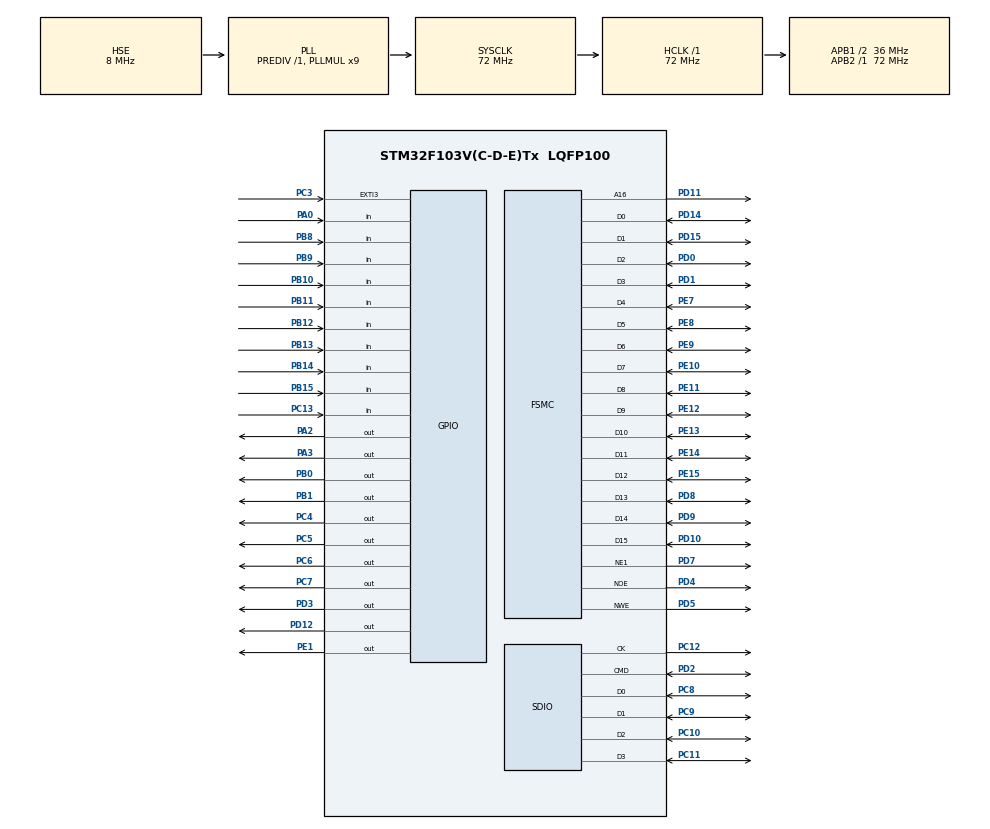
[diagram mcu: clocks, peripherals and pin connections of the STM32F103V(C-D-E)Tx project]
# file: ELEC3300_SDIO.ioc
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FATFS._MAX_SS=4096
Mcu.Family=STM32F1
Mcu.Name=STM32F103V(C-D-E)Tx
Mcu.Package=LQFP100
NVIC.EXTI3_IRQn=true\:0\:0\:false\:false\:true\:true\:true
NVIC.PriorityGroup=NVIC_PRIORITYGROUP_4
OSC_IN.Mode=HSE-External-Oscillator
OSC_IN.Signal=RCC_OSC_IN
OSC_OUT.Mode=HSE-External-Oscillator
OSC_OUT.Signal=RCC_OSC_OUT
PA0-WKUP.Signal=GPIO_Input
PA13.Mode=Serial_Wire
PA13.Signal=SYS_JTMS-SWDIO
PA14.Mode=Serial_Wire
PA14.Signal=SYS_JTCK-SWCLK
PA2.GPIO_Speed=GPIO_SPEED_FREQ_HIGH
PA2.Signal=GPIO_Output
PA3.GPIO_Speed=GPIO_SPEED_FREQ_HIGH
PA3.Signal=GPIO_Output
PB0.Signal=GPIO_Output
PB1.Signal=GPIO_Output
PB10.Signal=GPIO_Input
PB11.Signal=GPIO_Input
PB12.Signal=GPIO_Input
PB13.Signal=GPIO_Input
PB14.Signal=GPIO_Input
PB15.Signal=GPIO_Input
PB8.Signal=GPIO_Input
PB9.Signal=GPIO_Input
PC10.Mode=SD_4_bits_Wide_bus
PC10.Signal=SDIO_D2
PC11.Mode=SD_4_bits_Wide_bus
PC11.Signal=SDIO_D3
PC12.Mode=SD_4_bits_Wide_bus
PC12.Signal=SDIO_CK
PC13-TAMPER-RTC.Signal=GPIO_Input
PC14-OSC32_IN.Mode=LSE-External-Oscillator
PC14-OSC32_IN.Signal=RCC_OSC32_IN
PC15-OSC32_OUT.Mode=LSE-External-Oscillator
PC15-OSC32_OUT.Signal=RCC_OSC32_OUT
PC3.GPIO_ModeDefaultEXTI=GPIO_MODE_IT_FALLING
PC3.Signal=GPXTI3
PC4.GPIO_Speed=GPIO_SPEED_FREQ_HIGH
PC4.Signal=GPIO_Output
PC5.GPIO_Speed=GPIO_SPEED_FREQ_HIGH
PC5.Signal=GPIO_Output
PC6.GPIO_ModeDefaultOutputPP=GPIO_MODE_OUTPUT_OD
PC6.GPIO_PuPd=GPIO_NOPULL
PC6.GPIO_Speed=GPIO_SPEED_FREQ_HIGH
PC6.Signal=GPIO_Output
PC7.GPIO_ModeDefaultOutputPP=GPIO_MODE_OUTPUT_OD
PC7.GPIO_Speed=GPIO_SPEED_FREQ_HIGH
PC7.Signal=GPIO_Output
PC8.Mode=SD_4_bits_Wide_bus
PC8.Signal=SDIO_D0
PC9.Mode=SD_4_bits_Wide_bus
PC9.Signal=SDIO_D1
PD0.Mode=16b-d1
PD0.Signal=FSMC_D2
PD1.Mode=16b-d1
PD1.Signal=FSMC_D3
PD10.Mode=16b-d1
PD10.Signal=FSMC_D15
PD11.Mode=A16_1
PD11.Signal=FSMC_A16
PD12.GPIO_Speed=GPIO_SPEED_FREQ_HIGH
PD12.PinState=GPIO_PIN_RESET
PD12.Signal=GPIO_Output
PD14.Mode=16b-d1
PD14.Signal=FSMC_D0
PD15.Mode=16b-d1
PD15.Signal=FSMC_D1
PD2.Mode=SD_4_bits_Wide_bus
PD2.Signal=SDIO_CMD
PD3.GPIO_Speed=GPIO_SPEED_FREQ_HIGH
PD3.Signal=GPIO_Output
PD4.Mode=Lcd1
PD4.Signal=FSMC_NOE
PD5.Mode=Lcd1
PD5.Signal=FSMC_NWE
PD7.Mode=NorPsramChipSelect1_1
PD7.Signal=FSMC_NE1
PD8.Mode=16b-d1
PD8.Signal=FSMC_D13
PD9.Mode=16b-d1
PD9.Signal=FSMC_D14
PE1.GPIO_Speed=GPIO_SPEED_FREQ_HIGH
PE1.PinState=GPIO_PIN_RESET
PE1.Signal=GPIO_Output
PE10.Mode=16b-d1
PE10.Signal=FSMC_D7
PE11.Mode=16b-d1
PE11.Signal=FSMC_D8
PE12.Mode=16b-d1
PE12.Signal=FSMC_D9
PE13.Mode=16b-d1
PE13.Signal=FSMC_D10
PE14.Mode=16b-d1
PE14.Signal=FSMC_D11
PE15.Mode=16b-d1
PE15.Signal=FSMC_D12
PE7.Mode=16b-d1
PE7.Signal=FSMC_D4
PE8.Mode=16b-d1
PE8.Signal=FSMC_D5
PE9.Mode=16b-d1
PE9.Signal=FSMC_D6
ProjectManager.HeapSize=0x200
ProjectManager.StackSize=0x400
ProjectManager.TargetToolchain=MDK-ARM V5.32
RCC.AHBFreq_Value=72000000
RCC.APB1CLKDivider=RCC_HCLK_DIV2
RCC.APB1Freq_Value=36000000
RCC.APB1TimFreq_Value=72000000
RCC.APB2Freq_Value=72000000
RCC.APB2TimFreq_Value=72000000
RCC.HCLKFreq_Value=72000000
RCC.PLLMUL=RCC_PLL_MUL9
RCC.PLLSourceVirtual=RCC_PLLSOURCE_HSE
RCC.SYSCLKFreq_VALUE=72000000
RCC.SYSCLKSource=RCC_SYSCLKSOURCE_PLLCLK
RCC.USBFreq_Value=72000000
SDIO.ClockDiv=4
VP_FATFS_VS_SDIO.Mode=SDIO
board=custom

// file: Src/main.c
/* USER CODE BEGIN Header */
/**
  ******************************************************************************
  * @file           : main.c
  * @brief          : Main program body
  ******************************************************************************
  * @attention
  *
  * <h2><center>&copy; Copyright (c) 2022 STMicroelectronics.
  * All rights reserved.</center></h2>
  *
  * This software component is licensed by ST under Ultimate Liberty license
  * SLA0044, the "License"; You may not use this file except in compliance with
  * the License. You may obtain a copy of the License at:
  *                             www.st.com/SLA0044
  *
  ******************************************************************************
  */
/* USER CODE END Header */

#include "main.h"
#include "fatfs.h"

/* USER CODE BEGIN Includes */
#include "lcd.h"
#include "bsp_ov7725.h"
#include "bsp_sccb.h"
#include "bmp.h"
/* USER CODE END Includes */

SD_HandleTypeDef hsd;

SRAM_HandleTypeDef hsram1;

void SystemClock_Config(void);
static void MX_GPIO_Init(void);
static void MX_FSMC_Init(void);
static void MX_SDIO_SD_Init(void);
/* USER CODE BEGIN PFP */
int newbmp(const char*);
FATFS myFATFS;
FIL myFILE;
UINT numberofbytes;
BITMAPINFO bmp;
volatile uint8_t Ov7725_vsync ;
/* USER CODE END PFP */

/* USER CODE BEGIN 0 */
int newbmp(const char* myPath){
	if (f_mount(&myFATFS,SDPath,1) == FR_OK){ // if sd card is successfully detected.
		if (f_open(&myFILE, myPath, FA_WRITE |FA_CREATE_ALWAYS) == FR_OK ){
			bmp.bmfHeader.bfType =  0x4D42 ; 			//bmp type "BM"
			bmp.bmfHeader.bOffBits = sizeof(bmp.bmfHeader) + sizeof(bmp.bmiHeader) + sizeof(bmp.RGB_MASK); ; 				//The number of bytes occupied by the bitmap information structure
			bmp.bmfHeader.bfSize = bmp.bmfHeader.bOffBits + 320 * 240 * 2; 	//File size (information structure + pixel data)
			bmp.bmfHeader.bfReserved1 =  0x0000 ; 		//Reserved, must be 0
			bmp.bmfHeader.bfReserved2 =  0x0000;

			bmp.bmiHeader.biSize = sizeof(bmp.bmiHeader) ;   			//bitmap information header size of width
			bmp.bmiHeader.biWidth = 320. ;   		//bitmap
			bmp.bmiHeader.biHeight = 240 ;   		//image height
			bmp.bmiHeader.biPlanes = 1 ;   			//set another target level must be 1
			bmp.bmiHeader.biBitCount = 16 ;         //bits per pixel
			bmp.bmiHeader.biCompression = 3;   	//RGB565 format
			bmp.bmiHeader.biSizeImage = 320 * 240 * 2 ; //The number of bytes occupied by the actual bitmap (only the bitmap pixel data is considered)
			bmp.bmiHeader.biXPelsPerMeter = 0 ; 	//horizontal resolution
			bmp.bmiHeader.biYPelsPerMeter = 0 ;  	//vertical resolution
			bmp.bmiHeader.biClrImportant = 0 ;    	//color index number of the image display described have an important influence, 0 represents all colors as important
			bmp.bmiHeader.biClrUsed = 0 ;

			bmp.RGB_MASK[0] = 0X00F800;
			bmp.RGB_MASK[1] = 0X0007E0;
			bmp.RGB_MASK[2] = 0X00001F;

			if (f_write(&myFILE, &bmp , sizeof(bmp), &numberofbytes) == FR_OK){
				FIFO_PREPARE; //ready for FIFO
				uint16_t i, j;
				uint16_t Camera_Data;

				//LCD_Cam_Gram(); //function in lcd.c
				for (i = 0; i < 240; i++)
				{
					for (j = 0; j < 320; j++)
					{
						READ_FIFO_PIXEL(Camera_Data);
						f_write(&myFILE, &Camera_Data, sizeof(Camera_Data), &numberofbytes); // write the raw imagedata.
						//LCD_Write_Data(Camera_Data);
					}
				}
				f_close(&myFILE);
				Ov7725_vsync = 0;
				return 0;
			}else{
				return 1;
			}
		}else{
			return 1;
		}
	}else{
		return 1;
	}
}

int readbmp(const char* myPath){
	if (f_mount(&myFATFS,SDPath,1) == FR_OK){ // if sd card is successfully detected.
		if (f_open(&myFILE, myPath, FA_READ) == FR_OK ){
			bmp.bmfHeader.bfType =  0x4D42 ; 			//bmp type "BM"
			bmp.bmfHeader.bOffBits = sizeof(bmp.bmfHeader) + sizeof(bmp.bmiHeader) + sizeof(bmp.RGB_MASK); ; 				//The number of bytes occupied by the bitmap information structure
			bmp.bmfHeader.bfSize = bmp.bmfHeader.bOffBits + 320 * 240 * 2; 	//File size (information structure + pixel data)
			bmp.bmfHeader.bfReserved1 =  0x0000 ; 		//Reserved, must be 0
			bmp.bmfHeader.bfReserved2 =  0x0000;

			bmp.bmiHeader.biSize = sizeof(bmp.bmiHeader) ;   			//bitmap information header size of width
			bmp.bmiHeader.biWidth = 320. ;   		//bitmap
			bmp.bmiHeader.biHeight = 240 ;   		//image height
			bmp.bmiHeader.biPlanes = 1 ;   			//set another target level must be 1
			bmp.bmiHeader.biBitCount = 16 ;         //bits per pixel
			bmp.bmiHeader.biCompression = 3;   	//RGB565 format
			bmp.bmiHeader.biSizeImage = 320 * 240 * 2 ; //The number of bytes occupied by the actual bitmap (only the bitmap pixel data is considered)
			bmp.bmiHeader.biXPelsPerMeter = 0 ; 	//horizontal resolution
			bmp.bmiHeader.biYPelsPerMeter = 0 ;  	//vertical resolution
			bmp.bmiHeader.biClrImportant = 0 ;    	//color index number of the image display described have an important influence, 0 represents all colors as important
			bmp.bmiHeader.biClrUsed = 0 ;

			bmp.RGB_MASK[0] = 0X00F800;
			bmp.RGB_MASK[1] = 0X0007E0;
			bmp.RGB_MASK[2] = 0X00001F;
			if (f_read(&myFILE, &bmp , sizeof(bmp), &numberofbytes) == FR_OK){
				uint16_t i, j;
				uint16_t Camera_Data;
				LCD_Cam_Gram(); //function in lcd.c
				for (i = 0; i < 240; i++)
				{
					for (j = 0; j < 320; j++)
					{
						f_read(&myFILE, &Camera_Data, sizeof(Camera_Data), &numberofbytes); // write the raw imagedata.
						LCD_Write_Data(Camera_Data);
					}
				}
				f_close(&myFILE);
				return 0;
			}else{
				return 1;
			}
		}else{
			return 1;
		}
	}else{
		return 1;
	}
}

/* USER CODE END 0 */

int main(void)
{

  /* MCU Configuration--------------------------------------------------------*/

  /* Reset of all peripherals, Initializes the Flash interface and the Systick. */
  HAL_Init();

  /* Configure the system clock */
  SystemClock_Config();

  /* Initialize all configured peripherals */
  MX_GPIO_Init();
  MX_FSMC_Init();
  MX_SDIO_SD_Init();
  MX_FATFS_Init();
  /* USER CODE BEGIN 2 */
	LCD_INIT();

  /* USER CODE END 2 */

  /* Infinite loop */
  /* USER CODE BEGIN WHILE */

	while(Ov7725_Init() != SUCCESS); //initialize camera ov7725; if any error, loop forever
	Ov7725_vsync = 0;   //for detecting if camera finish capturing; if yes, it becomes 2 as detecting two failing edge in VSYNC

	HAL_GPIO_WritePin(GPIOB, GPIO_PIN_1,GPIO_PIN_SET); // lights off
	HAL_GPIO_WritePin(GPIOB, GPIO_PIN_0,GPIO_PIN_SET);
	HAL_GPIO_WritePin(GPIOB, GPIO_PIN_5,GPIO_PIN_SET);

  while (1)
  {
		if (Ov7725_vsync == 2 && HAL_GPIO_ReadPin(GPIOA, GPIO_PIN_0) == SET){ 		//finish capturing & k1 press
			const char* myPath = "test1.bmp"; // the filename of the image data.
			if(newbmp(myPath) == 0){
				HAL_GPIO_WritePin(GPIOB, GPIO_PIN_0,GPIO_PIN_RESET); // green light.
			}
		}

		if (HAL_GPIO_ReadPin(GPIOC, GPIO_PIN_13) == SET){
			const char* myPath = "test2.bmp";
			if (readbmp(myPath) == 0){
				HAL_GPIO_WritePin(GPIOB, GPIO_PIN_0,GPIO_PIN_SET); // green off.
				HAL_GPIO_WritePin(GPIOB, GPIO_PIN_1,GPIO_PIN_RESET); // red light.
			}
		}
    /* USER CODE END WHILE */

  }
}

void SystemClock_Config(void)
{
  RCC_OscInitTypeDef RCC_OscInitStruct = {0};
  RCC_ClkInitTypeDef RCC_ClkInitStruct = {0};

  /** Initializes the CPU, AHB and APB busses clocks
  */
  RCC_OscInitStruct.OscillatorType = RCC_OSCILLATORTYPE_HSE;
  RCC_OscInitStruct.HSEState = RCC_HSE_ON;
  RCC_OscInitStruct.HSEPredivValue = RCC_HSE_PREDIV_DIV1;
  RCC_OscInitStruct.HSIState = RCC_HSI_ON;
  RCC_OscInitStruct.PLL.PLLState = RCC_PLL_ON;
  RCC_OscInitStruct.PLL.PLLSource = RCC_PLLSOURCE_HSE;
  RCC_OscInitStruct.PLL.PLLMUL = RCC_PLL_MUL9;
  if (HAL_RCC_OscConfig(&RCC_OscInitStruct) != HAL_OK)
  {
    Error_Handler();
  }
  /** Initializes the CPU, AHB and APB busses clocks
  */
  RCC_ClkInitStruct.ClockType = RCC_CLOCKTYPE_HCLK|RCC_CLOCKTYPE_SYSCLK
                              |RCC_CLOCKTYPE_PCLK1|RCC_CLOCKTYPE_PCLK2;
  RCC_ClkInitStruct.SYSCLKSource = RCC_SYSCLKSOURCE_PLLCLK;
  RCC_ClkInitStruct.AHBCLKDivider = RCC_SYSCLK_DIV1;
  RCC_ClkInitStruct.APB1CLKDivider = RCC_HCLK_DIV2;
  RCC_ClkInitStruct.APB2CLKDivider = RCC_HCLK_DIV1;

  if (HAL_RCC_ClockConfig(&RCC_ClkInitStruct, FLASH_LATENCY_2) != HAL_OK)
  {
    Error_Handler();
  }
}

static void MX_SDIO_SD_Init(void)
{

  hsd.Instance = SDIO;
  hsd.Init.ClockEdge = SDIO_CLOCK_EDGE_RISING;
  hsd.Init.ClockBypass = SDIO_CLOCK_BYPASS_DISABLE;
  hsd.Init.ClockPowerSave = SDIO_CLOCK_POWER_SAVE_DISABLE;
  hsd.Init.BusWide = SDIO_BUS_WIDE_1B;
  hsd.Init.HardwareFlowControl = SDIO_HARDWARE_FLOW_CONTROL_DISABLE;
  hsd.Init.ClockDiv = 4;

}

static void MX_GPIO_Init(void)
{
  GPIO_InitTypeDef GPIO_InitStruct = {0};

  /* GPIO Ports Clock Enable */
  __HAL_RCC_GPIOC_CLK_ENABLE();
  __HAL_RCC_GPIOA_CLK_ENABLE();
  __HAL_RCC_GPIOB_CLK_ENABLE();
  __HAL_RCC_GPIOE_CLK_ENABLE();
  __HAL_RCC_GPIOD_CLK_ENABLE();

  /*Configure GPIO pin Output Level */
  HAL_GPIO_WritePin(GPIOA, GPIO_PIN_2|GPIO_PIN_3, GPIO_PIN_RESET);

  /*Configure GPIO pin Output Level */
  HAL_GPIO_WritePin(GPIOC, GPIO_PIN_4|GPIO_PIN_5|GPIO_PIN_6|GPIO_PIN_7, GPIO_PIN_RESET);

  /*Configure GPIO pin Output Level */
  HAL_GPIO_WritePin(GPIOB, GPIO_PIN_0|GPIO_PIN_1, GPIO_PIN_RESET);

  /*Configure GPIO pin Output Level */
  HAL_GPIO_WritePin(GPIOD, GPIO_PIN_12|GPIO_PIN_3, GPIO_PIN_RESET);

  /*Configure GPIO pin Output Level */
  HAL_GPIO_WritePin(GPIOE, GPIO_PIN_1, GPIO_PIN_RESET);

  /*Configure GPIO pin : PC13 */
  GPIO_InitStruct.Pin = GPIO_PIN_13;
  GPIO_InitStruct.Mode = GPIO_MODE_INPUT;
  GPIO_InitStruct.Pull = GPIO_NOPULL;
  HAL_GPIO_Init(GPIOC, &GPIO_InitStruct);

  /*Configure GPIO pin : PC3 */
  GPIO_InitStruct.Pin = GPIO_PIN_3;
  GPIO_InitStruct.Mode = GPIO_MODE_IT_FALLING;
  GPIO_InitStruct.Pull = GPIO_NOPULL;
  HAL_GPIO_Init(GPIOC, &GPIO_InitStruct);

  /*Configure GPIO pin : PA0 */
  GPIO_InitStruct.Pin = GPIO_PIN_0;
  GPIO_InitStruct.Mode = GPIO_MODE_INPUT;
  GPIO_InitStruct.Pull = GPIO_NOPULL;
  HAL_GPIO_Init(GPIOA, &GPIO_InitStruct);

  /*Configure GPIO pins : PA2 PA3 */
  GPIO_InitStruct.Pin = GPIO_PIN_2|GPIO_PIN_3;
  GPIO_InitStruct.Mode = GPIO_MODE_OUTPUT_PP;
  GPIO_InitStruct.Pull = GPIO_NOPULL;
  GPIO_InitStruct.Speed = GPIO_SPEED_FREQ_HIGH;
  HAL_GPIO_Init(GPIOA, &GPIO_InitStruct);

  /*Configure GPIO pins : PC4 PC5 */
  GPIO_InitStruct.Pin = GPIO_PIN_4|GPIO_PIN_5;
  GPIO_InitStruct.Mode = GPIO_MODE_OUTPUT_PP;
  GPIO_InitStruct.Pull = GPIO_NOPULL;
  GPIO_InitStruct.Speed = GPIO_SPEED_FREQ_HIGH;
  HAL_GPIO_Init(GPIOC, &GPIO_InitStruct);

  /*Configure GPIO pins : PB0 PB1 */
  GPIO_InitStruct.Pin = GPIO_PIN_0|GPIO_PIN_1;
  GPIO_InitStruct.Mode = GPIO_MODE_OUTPUT_PP;
  GPIO_InitStruct.Pull = GPIO_NOPULL;
  GPIO_InitStruct.Speed = GPIO_SPEED_FREQ_LOW;
  HAL_GPIO_Init(GPIOB, &GPIO_InitStruct);

  /*Configure GPIO pins : PB10 PB11 PB12 PB13
                           PB14 PB15 PB8 PB9 */
  GPIO_InitStruct.Pin = GPIO_PIN_10|GPIO_PIN_11|GPIO_PIN_12|GPIO_PIN_13
                          |GPIO_PIN_14|GPIO_PIN_15|GPIO_PIN_8|GPIO_PIN_9;
  GPIO_InitStruct.Mode = GPIO_MODE_INPUT;
  GPIO_InitStruct.Pull = GPIO_NOPULL;
  HAL_GPIO_Init(GPIOB, &GPIO_InitStruct);

  /*Configure GPIO pins : PD12 PD3 */
  GPIO_InitStruct.Pin = GPIO_PIN_12|GPIO_PIN_3;
  GPIO_InitStruct.Mode = GPIO_MODE_OUTPUT_PP;
  GPIO_InitStruct.Pull = GPIO_NOPULL;
  GPIO_InitStruct.Speed = GPIO_SPEED_FREQ_HIGH;
  HAL_GPIO_Init(GPIOD, &GPIO_InitStruct);

  /*Configure GPIO pins : PC6 PC7 */
  GPIO_InitStruct.Pin = GPIO_PIN_6|GPIO_PIN_7;
  GPIO_InitStruct.Mode = GPIO_MODE_OUTPUT_OD;
  GPIO_InitStruct.Pull = GPIO_NOPULL;
  GPIO_InitStruct.Speed = GPIO_SPEED_FREQ_HIGH;
  HAL_GPIO_Init(GPIOC, &GPIO_InitStruct);

  /*Configure GPIO pin : PE1 */
  GPIO_InitStruct.Pin = GPIO_PIN_1;
  GPIO_InitStruct.Mode = GPIO_MODE_OUTPUT_PP;
  GPIO_InitStruct.Pull = GPIO_NOPULL;
  GPIO_InitStruct.Speed = GPIO_SPEED_FREQ_HIGH;
  HAL_GPIO_Init(GPIOE, &GPIO_InitStruct);

  /* EXTI interrupt init*/
  HAL_NVIC_SetPriority(EXTI3_IRQn, 0, 0);
  HAL_NVIC_EnableIRQ(EXTI3_IRQn);

}

/* FSMC initialization function */
static void MX_FSMC_Init(void)
{

  FSMC_NORSRAM_TimingTypeDef Timing = {0};

  /** Perform the SRAM1 memory initialization sequence
  */
  hsram1.Instance = FSMC_NORSRAM_DEVICE;
  hsram1.Extended = FSMC_NORSRAM_EXTENDED_DEVICE;
  /* hsram1.Init */
  hsram1.Init.NSBank = FSMC_NORSRAM_BANK1;
  hsram1.Init.DataAddressMux = FSMC_DATA_ADDRESS_MUX_DISABLE;
  hsram1.Init.MemoryType = FSMC_MEMORY_TYPE_SRAM;
  hsram1.Init.MemoryDataWidth = FSMC_NORSRAM_MEM_BUS_WIDTH_16;
  hsram1.Init.BurstAccessMode = FSMC_BURST_ACCESS_MODE_DISABLE;
  hsram1.Init.WaitSignalPolarity = FSMC_WAIT_SIGNAL_POLARITY_LOW;
  hsram1.Init.WrapMode = FSMC_WRAP_MODE_DISABLE;
  hsram1.Init.WaitSignalActive = FSMC_WAIT_TIMING_BEFORE_WS;
  hsram1.Init.WriteOperation = FSMC_WRITE_OPERATION_ENABLE;
  hsram1.Init.WaitSignal = FSMC_WAIT_SIGNAL_DISABLE;
  hsram1.Init.ExtendedMode = FSMC_EXTENDED_MODE_DISABLE;
  hsram1.Init.AsynchronousWait = FSMC_ASYNCHRONOUS_WAIT_DISABLE;
  hsram1.Init.WriteBurst = FSMC_WRITE_BURST_DISABLE;
  /* Timing */
  Timing.AddressSetupTime = 15;
  Timing.AddressHoldTime = 15;
  Timing.DataSetupTime = 255;
  Timing.BusTurnAroundDuration = 15;
  Timing.CLKDivision = 16;
  Timing.DataLatency = 17;
  Timing.AccessMode = FSMC_ACCESS_MODE_A;
  /* ExtTiming */

  if (HAL_SRAM_Init(&hsram1, &Timing, NULL) != HAL_OK)
  {
    Error_Handler( );
  }

  /** Disconnect NADV
  */

  __HAL_AFIO_FSMCNADV_DISCONNECTED();

}

void Error_Handler(void)
{
}

/************************ (C) COPYRIGHT STMicroelectronics *****END OF FILE****/
